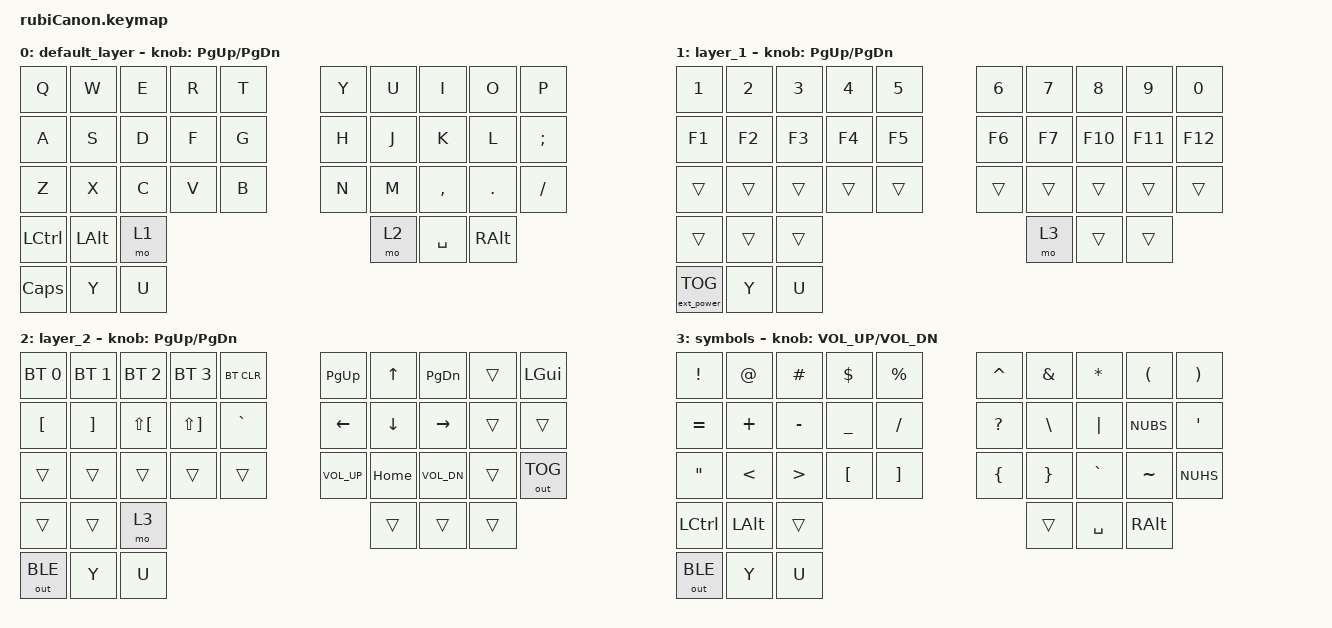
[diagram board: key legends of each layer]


//Bluetouch
#include <dt-bindings/zmk/bt.h>
#include <dt-bindings/zmk/outputs.h>

//Power Management Behaviors 
#include <dt-bindings/zmk/ext_power.h>

#include <behaviors.dtsi>
#include <dt-bindings/zmk/keys.h>
#include <dt-bindings/zmk/bt.h>
#include <dt-bindings/zmk/matrix_transform.h>  // <--- necesario para LS(), RS(), RA(), etc.
#include "combos.dtsi"

#define ZMK_POINTING_DEGFAULT_SCRL_VAL 500 // mouse scroll sensitive

 / {
 
     behaviors {
            rot_kp: sensor_rotate_kp {
                    compatible = "zmk,behavior-sensor-rotate-var";
                    label= "MOUSESCROLL"
                    #sensor-binding-cells = <0>;
                    bindings = <&mcs SCRL_DOWN>,<&mcs SCRL_UP>;
                    tap-ms= <20>;
            };
    };

    keymap {
        compatible = "zmk,keymap";

        default_layer {
            bindings = <
                &kp Q &kp W &kp E &kp R &kp T        &kp Y &kp U &kp I &kp O &kp P
                &kp A &kp S &kp D &kp F &kp G        &kp H &kp J &kp K &kp L &kp SEMI
                &kp Z &kp X &kp C &kp V &kp B        &kp N &kp M &kp COMMA &kp DOT &kp SLASH
                &kp LCTRL &kp LALT &mo 1             &mo 2 &kp SPACE &kp RALT
                // fila 4 (direct inputs)
                &kp CAPS &kp Y &kp U
            >;
            sensor-bindings = <&rot_kp PG_UP PG_DN>;
        };


        layer_1 {
            bindings = <
                &kp N1 &kp N2 &kp N3 &kp N4 &kp N5                 &kp N6 &kp N7 &kp N8 &kp N9 &kp N0
                &kp F1 &kp F2 &kp F3 &kp F4 &kp F5                 &kp F6 &kp F7 &kp F10 &kp F11 &kp F12
                // simbolos
                &trans &trans &trans &trans &trans                 &trans  &trans &trans &trans &trans
                &trans &trans &trans                               &mo 3   &trans &trans
                // fila 4 (direct inputs)
                &ext_power EP_TOG &kp Y &kp U //toogle external power
            >;
                sensor-bindings = <&rot_kp PG_UP PG_DN>;
        };

        layer_2 {
            bindings = <//perfiles de configuracion
                &bt BT_SEL 0 &bt BT_SEL 1 &bt BT_SEL 2 &bt BT_SEL 3 &bt BT_CLR         &kp PG_UP &kp UP &kp PG_DN &trans &kp LEFT_GUI
                &kp LBKT &kp RBKT &kp LS(LBKT) &kp LS(RBKT) &kp GRAVE                  &kp LEFT &kp DOWN &kp RIGHT &trans &trans
                &trans &trans &trans &trans &trans                                     &kp C_VOL_UP &kp HOME &kp C_VOL_DN &trans &out OUT_TOG
                &trans &trans &mo 3                                                    &trans   &trans   &trans
                // fila 4 (direct inputs)
                &out OUT_BLE &kp Y &kp U
            >;
            sensor-bindings = <&rot_kp PG_UP PG_DN>;
        };

        symbols {
            bindings = <
                &kp EXCL &kp AT &kp POUND &kp DLLR &kp PRCNT         &kp CARET &kp AMPS &kp ASTRK &kp LPAR &kp RPAR
                &kp EQUAL &kp PLUS &kp MINUS &kp UNDER &kp FSLH      &kp QMARK &kp BSLH &kp PIPE &kp NUBS &kp SQT
                &kp DQT &kp LT &kp GT &kp LBKT &kp RBKT              &kp LBRC &kp RBRC &kp GRAVE &kp TILDE &kp NUHS
                &kp LCTRL &kp LALT &trans             &trans &kp SPACE &kp RALT
                // fila 4 (direct inputs)
                &out OUT_BLE &kp Y &kp U
            >;
            sensor-bindings = <&rot_kp C_VOL_UP C_VOL_DN>;
        };

    };

};
